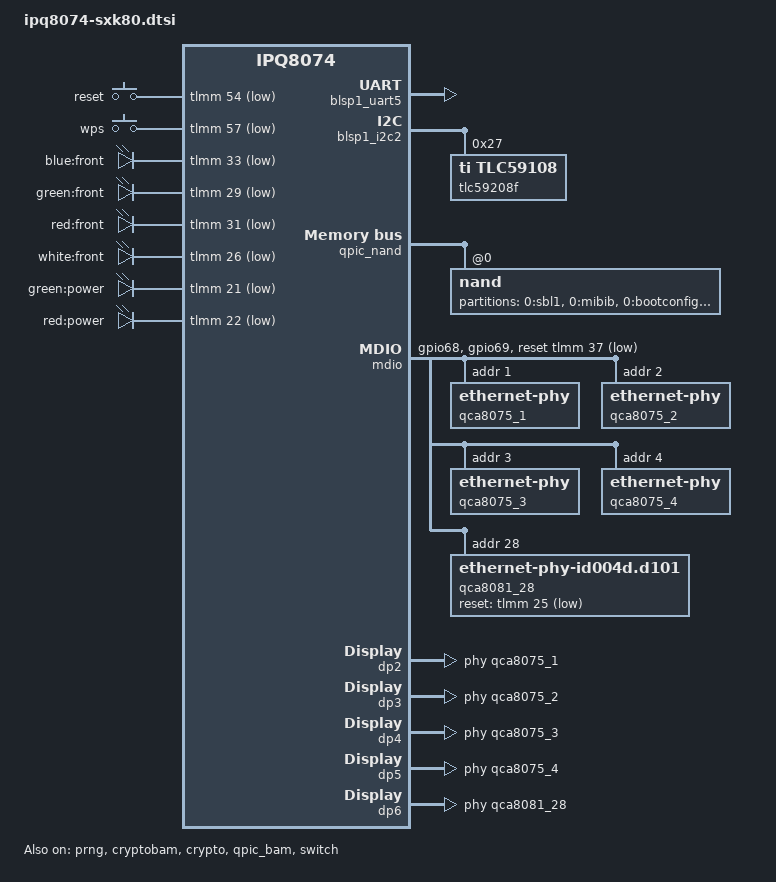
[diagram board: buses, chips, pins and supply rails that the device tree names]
// SPDX-License-Identifier: GPL-2.0-or-later OR MIT
/* Copyright (c) 2021, Flole <flole@flole.de> */

/dts-v1/;

#include "ipq8074.dtsi"
#include "ipq8074-ess.dtsi"
#include "ipq8074-hk-cpu.dtsi"
#include <dt-bindings/gpio/gpio.h>
#include <dt-bindings/input/input.h>

/ {
	#address-cells = <2>;
	#size-cells = <2>;

	interrupt-parent = <&intc>;

	aliases {
		serial0 = &blsp1_uart5;
		led-boot = &led_front_blue;
		led-failsafe = &led_front_red;
		led-running = &led_front_green;
		led-upgrade = &led_front_white;
		/* Aliases as required by u-boot to patch MAC addresses */
		ethernet0 = &dp2;
		ethernet1 = &dp3;
		ethernet2 = &dp4;
		ethernet3 = &dp5;
		ethernet6 = &dp6;
		label-mac-device = &dp2;
	};

	chosen {
		stdout-path = "serial0:115200n8";
		bootargs-append = " ubi.mtd=rootfs root=/dev/ubiblock0_0";
	};

	keys {
		compatible = "gpio-keys";

		reset {
			label = "reset";
			gpios = <&tlmm 54 GPIO_ACTIVE_LOW>;
			linux,code = <KEY_RESTART>;
		};

		wps {
			label = "wps";
			gpios = <&tlmm 57 GPIO_ACTIVE_LOW>;
			linux,code = <KEY_WPS_BUTTON>;
		};
	};

	leds {
		compatible = "gpio-leds";

		led_front_blue: front-blue {
			label = "blue:front";
			gpios = <&tlmm 33 GPIO_ACTIVE_LOW>;
		};

		led_front_green: front-green {
			label = "green:front";
			gpios = <&tlmm 29 GPIO_ACTIVE_LOW>;
		};

		led_front_red: front-red {
			label = "red:front";
			gpios = <&tlmm 31 GPIO_ACTIVE_LOW>;
		};

		led_front_white: front-white {
			label = "white:front";
			gpios = <&tlmm 26 GPIO_ACTIVE_LOW>;
		};

		led_power_green: power-green {
			label = "green:power";
			gpios = <&tlmm 21 GPIO_ACTIVE_LOW>;
			default-state = "on";
		};

		led_power_red: power-red {
			label = "red:power";
			gpios = <&tlmm 22 GPIO_ACTIVE_LOW>;
			panic-indicator;
		};
	};
};

&tlmm {
	mdio_pins: mdio-pins {
		mdc {
			pins = "gpio68";
			function = "mdc";
			drive-strength = <8>;
			bias-pull-up;
		};

		mdio {
			pins = "gpio69";
			function = "mdio";
			drive-strength = <8>;
			bias-pull-up;
		};
	};

	leds_pins: leds_pinmux {
		led_power_green {
			pins = "gpio21";
			function = "gpio";
			drive-strength = <8>;
			bias-pull-down;
		};
		led_power_red {
			pins = "gpio22";
			function = "gpio";
			drive-strength = <8>;
			bias-pull-down;
		};
		led_white {
			pins = "gpio26";
			function = "gpio";
			drive-strength = <8>;
			bias-pull-down;
		};
		led_green {
			pins = "gpio29";
			function = "gpio";
			drive-strength = <8>;
			bias-pull-down;
		};
		led_red {
			pins = "gpio31";
			function = "gpio";
			drive-strength = <8>;
			bias-pull-down;
		};
		led_blue {
			pins = "gpio33";
			function = "gpio";
			drive-strength = <8>;
			bias-pull-down;
		};
	};
};

&blsp1_uart5 {
	status = "okay";
};

&blsp1_i2c2 {
	pinctrl-0 = <&i2c_0_pins>;
	pinctrl-names = "default";

	status = "okay";
	
	tlc59208f@27 {
		#address-cells = <1>;
		#size-cells = <0>;
		compatible = "ti,tlc59108";
		reg = <0x27>;
		
		led@0 {
			label = "rgb:led0";
			reg = <0>;
			linux,default-trigger = "default-on";
		};
		led@1 {
			label = "rgb:led1";
			reg = <1>;
			linux,default-trigger = "default-on";
		};
		led@2 {
			label = "rgb:led2";
			reg = <2>;
			linux,default-trigger = "default-on";
		};
		led@3 {
			label = "rgb:led3";
			reg = <3>;
			linux,default-trigger = "default-on";

		};
	};
};

&prng {
	status = "okay";
};

&cryptobam {
	status = "okay";
};

&crypto {
	status = "okay";
};

&qpic_bam {
	status = "okay";
};

&qpic_nand {
	status = "okay";

	partitions {
		status = "disabled";
	};

	nand@0 {
		reg = <0>;
		nand-ecc-strength = <4>;
		nand-ecc-step-size = <512>;
		nand-bus-width = <8>;

		partitions {
			compatible = "fixed-partitions";
			#address-cells = <1>;
			#size-cells = <1>;

			partition@0 {
				label = "0:sbl1";
				reg = <0x00 0x100000>;
				read-only;
			};

			partition@100000 {
				label = "0:mibib";
				reg = <0x100000 0x100000>;
				read-only;
			};

			partition@200000 {
				label = "0:bootconfig";
				reg = <0x200000 0x80000>;
			};

			partition@280000 {
				label = "0:bootconfig_1";
				reg = <0x280000 0x80000>;
			};

			partition@300000 {
				label = "0:qsee";
				reg = <0x300000 0x300000>;
				read-only;
			};

			partition@600000 {
				label = "0:qsee_1";
				reg = <0x600000 0x300000>;
				read-only;
			};

			partition@900000 {
				label = "0:devcfg";
				reg = <0x900000 0x80000>;
				read-only;
			};

			partition@980000 {
				label = "0:devcfg_1";
				reg = <0x980000 0x80000>;
				read-only;
			};

			partition@a00000 {
				label = "0:apdp";
				reg = <0xa00000 0x80000>;
			};

			partition@a80000 {
				label = "0:apdp_1";
				reg = <0xa80000 0x80000>;
			};

			partition@b00000 {
				label = "0:rpm";
				reg = <0xb00000 0x80000>;
				read-only;
			};

			partition@b80000 {
				label = "0:rpm_1";
				reg = <0xb80000 0x80000>;
				read-only;
			};

			partition@c00000 {
				label = "0:cdt";
				reg = <0xc00000 0x80000>;
				read-only;
			};

			partition@c80000 {
				label = "0:cdt_1";
				reg = <0xc80000 0x80000>;
				read-only;
			};

			partition@d00000 {
				label = "0:appsblenv";
				reg = <0xd00000 0x80000>;
			};

			partition@d80000 {
				label = "0:appsbl";
				reg = <0xd80000 0x100000>;
				read-only;
			};

			partition@e80000 {
				label = "0:appsbl_1";
				reg = <0xe80000 0x100000>;
				read-only;
			};

			partition@f80000 {
				label = "0:art";
				reg = <0xf80000 0x80000>;
				read-only;
			};

			partition@1000000 {
				label = "0:art.bak";
				reg = <0x1000000 0x80000>;
				read-only;
			};

			partition@1080000 {
				label = "config";
				reg = <0x1080000 0x100000>;
			};

			partition@1180000 {
				label = "boarddata1";
				reg = <0x1180000 0x100000>;
			};

			partition@1280000 {
				label = "boarddata2";
				reg = <0x1280000 0x100000>;
			};

			partition@1380000 {
				label = "pot";
				reg = <0x1380000 0x100000>;
			};

			partition@1480000 {
				label = "dnidata";
				reg = <0x1480000 0x500000>;
			};

			partition@1980000 {
				label = "kernel";
				reg = <0x1980000 0x00620000>;
			};

			partition@1fa0000 {
				label = "rootfs";
				reg = <0x1fa0000 0x066E0000>;
			};

			partition@8680000 {
				label = "kernel2";
				reg = <0x8680000 0x00620000>;
			};

			partition@8ca0000 {
				label = "rootfs2";
				reg = <0x8ca0000 0x066E0000>;
			};
		};
	};
};

&mdio {
	status = "okay";

	pinctrl-0 = <&mdio_pins>;
	pinctrl-names = "default";
	reset-gpios = <&tlmm 37 GPIO_ACTIVE_LOW>;

	qca8075_1: ethernet-phy@1 {
		reg = <1>;
	};

	qca8075_2: ethernet-phy@2 {
		reg = <2>;
	};

	qca8075_3: ethernet-phy@3 {
		reg = <3>;
	};

	qca8075_4: ethernet-phy@4 {
		reg = <4>;
	};

	qca8081_28: ethernet-phy@28 {
		/*
		 * It looks like the PHY is too slow for
		 * auto probing after reset is deasserted
		 * so set the ID manually.
		 */
		compatible = "ethernet-phy-id004d.d101";
		reg = <28>;
		reset-gpios = <&tlmm 25 GPIO_ACTIVE_LOW>;
	};
};

&switch {
	status = "okay";

	switch_cpu_bmp = <0x1>;  /* cpu port bitmap */
	switch_lan_bmp = <0x3e>; /* lan port bitmap */
	switch_wan_bmp = <0x40>; /* wan port bitmap */
	switch_mac_mode = <0x0>; /* mac mode for uniphy instance0*/
	switch_mac_mode1 = <0xff>; /* mac mode for uniphy instance1*/
	switch_mac_mode2 = <0xf>; /* mac mode for uniphy instance2*/
	bm_tick_mode = <0>; /* bm tick mode */
	tm_tick_mode = <0>; /* tm tick mode */
	qcom,port_phyinfo {
		port@0 {
			port_id = <1>;
			phy_address = <0>;
		};
		port@1 {
			port_id = <2>;
			phy_address = <1>;
		};
		port@2 {
			port_id = <3>;
			phy_address = <2>;
		};
		port@3 {
			port_id = <4>;
			phy_address = <3>;
		};
		port@4 {
			port_id = <5>;
			phy_address = <4>;
		};
		port@5 {
			port_id = <6>;
			phy_address = <28>;
			port_mac_sel = "QGMAC_PORT";
		};
	};
};

&edma {
	status = "okay";
};

&dp2 {
	status = "okay";
	phy-handle = <&qca8075_1>;
	label = "lan2";
};

&dp3 {
	status = "okay";
	phy-handle = <&qca8075_2>;
	label = "lan3";
};

&dp4 {
	status = "okay";
	phy-handle = <&qca8075_3>;
	label = "lan4";
};

&dp5 {
	status = "okay";
	phy-handle = <&qca8075_4>;
	label = "lan5";
};

&dp6 {
	status = "okay";
	phy-handle = <&qca8081_28>;
	label = "wan";
};
